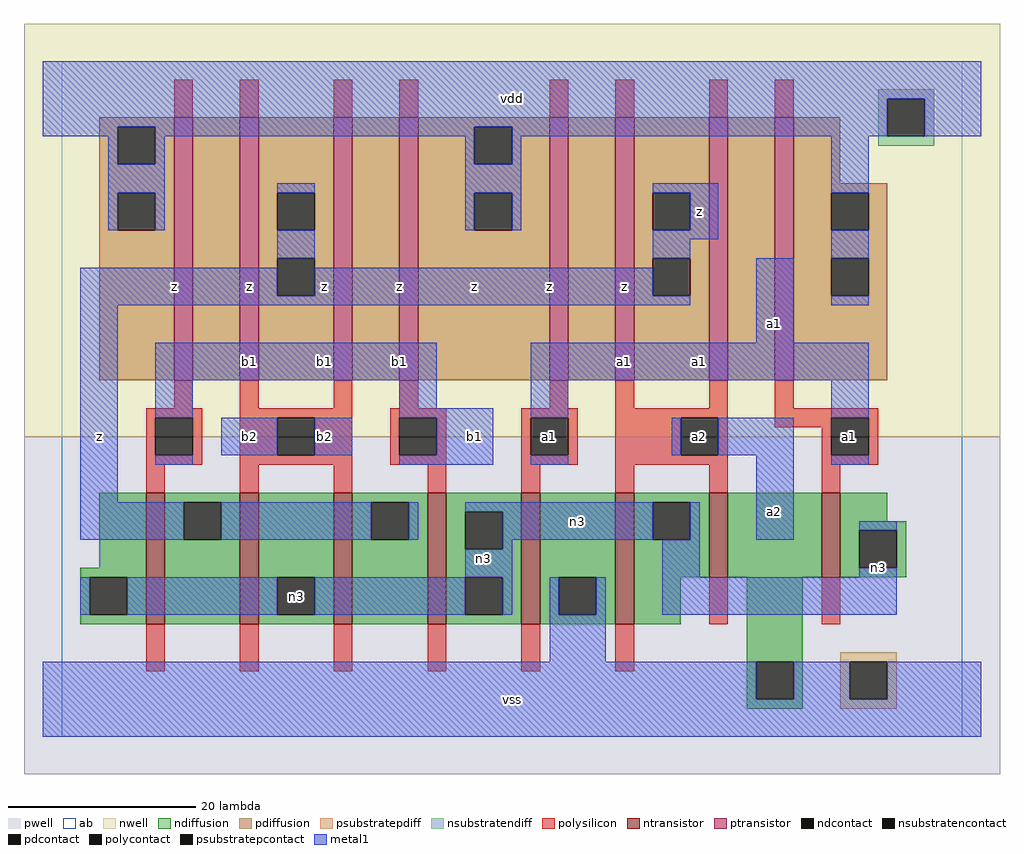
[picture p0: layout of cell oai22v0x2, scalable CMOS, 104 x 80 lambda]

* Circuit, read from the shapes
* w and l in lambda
.subckt oai22v0x2 a1 a2 b1 b2 n3 vdd vss z
M1 z b1 n3 vss nfet w=14 l=2 m=2
M2 n3 b2 z vss nfet w=14 l=2 m=2
M3 vss a1 n3 vss nfet w=14 l=2
M4 n3 a2 vss vss nfet w=14 l=2
M5 vss a2 n3 vss nfet w=9 l=2
M6 n3 a1 vss vss nfet w=9 l=2
M7 n1 b1 vdd vdd pfet w=28 l=2
M8 z b2 n1 vdd pfet w=28 l=2
M9 n2 b2 z vdd pfet w=28 l=2
M10 vdd b1 n2 vdd pfet w=28 l=2
M11 n4 a1 vdd vdd pfet w=28 l=2
M12 z a2 n4 vdd pfet w=28 l=2
M13 n5 a2 z vdd pfet w=28 l=2
M14 vdd a1 n5 vdd pfet w=28 l=2
.ends

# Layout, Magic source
magic
tech scmos
<< ab >>
rect 0 0 96 72
<< pwell >>
rect -4 -4 100 32
<< nwell >>
rect -4 32 100 76
<< polysilicon >>
rect 12 66 14 70
rect 19 66 21 70
rect 29 66 31 70
rect 36 66 38 70
rect 52 66 54 70
rect 59 66 61 70
rect 69 66 71 70
rect 76 66 78 70
rect 12 35 14 38
rect 19 35 21 38
rect 29 35 31 38
rect 36 35 38 38
rect 52 35 54 38
rect 59 35 61 38
rect 69 35 71 38
rect 9 34 15 35
rect 9 30 10 34
rect 14 30 15 34
rect 9 29 15 30
rect 19 34 31 35
rect 19 30 23 34
rect 27 30 31 34
rect 19 29 31 30
rect 35 34 41 35
rect 35 30 36 34
rect 40 30 41 34
rect 35 29 41 30
rect 9 26 11 29
rect 19 26 21 29
rect 29 26 31 29
rect 39 26 41 29
rect 49 34 55 35
rect 49 30 50 34
rect 54 30 55 34
rect 49 29 55 30
rect 59 34 71 35
rect 59 30 66 34
rect 70 30 71 34
rect 76 35 78 38
rect 76 34 87 35
rect 76 33 82 34
rect 59 29 71 30
rect 49 26 51 29
rect 59 26 61 29
rect 69 26 71 29
rect 81 30 82 33
rect 86 30 87 34
rect 81 29 87 30
rect 81 26 83 29
rect 69 12 71 17
rect 9 7 11 12
rect 19 7 21 12
rect 29 7 31 12
rect 39 7 41 12
rect 49 7 51 12
rect 59 7 61 12
rect 81 12 83 17
<< ndiffusion >>
rect 4 18 9 26
rect 2 17 9 18
rect 2 13 3 17
rect 7 13 9 17
rect 2 12 9 13
rect 11 25 19 26
rect 11 21 13 25
rect 17 21 19 25
rect 11 12 19 21
rect 21 17 29 26
rect 21 13 23 17
rect 27 13 29 17
rect 21 12 29 13
rect 31 25 39 26
rect 31 21 33 25
rect 37 21 39 25
rect 31 12 39 21
rect 41 24 49 26
rect 41 20 43 24
rect 47 20 49 24
rect 41 17 49 20
rect 41 13 43 17
rect 47 13 49 17
rect 41 12 49 13
rect 51 17 59 26
rect 51 13 53 17
rect 57 13 59 17
rect 51 12 59 13
rect 61 25 69 26
rect 61 21 63 25
rect 67 21 69 25
rect 61 17 69 21
rect 71 17 81 26
rect 83 23 88 26
rect 83 22 90 23
rect 83 18 85 22
rect 89 18 90 22
rect 83 17 90 18
rect 61 12 66 17
rect 73 8 79 17
rect 73 4 74 8
rect 78 4 79 8
rect 73 3 79 4
<< pdiffusion >>
rect 4 65 12 66
rect 4 61 6 65
rect 10 61 12 65
rect 4 58 12 61
rect 4 54 6 58
rect 10 54 12 58
rect 4 38 12 54
rect 14 38 19 66
rect 21 58 29 66
rect 21 54 23 58
rect 27 54 29 58
rect 21 51 29 54
rect 21 47 23 51
rect 27 47 29 51
rect 21 38 29 47
rect 31 38 36 66
rect 38 65 52 66
rect 38 61 44 65
rect 48 61 52 65
rect 38 58 52 61
rect 38 54 44 58
rect 48 54 52 58
rect 38 38 52 54
rect 54 38 59 66
rect 61 58 69 66
rect 61 54 63 58
rect 67 54 69 58
rect 61 51 69 54
rect 61 47 63 51
rect 67 47 69 51
rect 61 38 69 47
rect 71 38 76 66
rect 78 59 83 66
rect 78 58 88 59
rect 78 54 82 58
rect 86 54 88 58
rect 78 51 88 54
rect 78 47 82 51
rect 86 47 88 51
rect 78 38 88 47
<< metal1 >>
rect -2 68 98 72
rect -2 65 88 68
rect -2 64 6 65
rect 5 61 6 64
rect 10 64 44 65
rect 10 61 11 64
rect 5 58 11 61
rect 43 61 44 64
rect 48 64 88 65
rect 92 64 98 68
rect 48 61 49 64
rect 5 54 6 58
rect 10 54 11 58
rect 23 58 27 59
rect 43 58 49 61
rect 43 54 44 58
rect 48 54 49 58
rect 63 58 70 59
rect 67 54 70 58
rect 23 51 27 54
rect 2 47 23 50
rect 63 53 70 54
rect 82 58 86 64
rect 63 51 67 53
rect 82 51 86 54
rect 27 47 63 50
rect 2 46 67 47
rect 2 25 6 46
rect 74 42 78 51
rect 82 46 86 47
rect 10 38 40 42
rect 10 34 14 38
rect 36 35 40 38
rect 50 38 86 42
rect 36 34 46 35
rect 17 30 23 34
rect 27 30 31 34
rect 40 30 46 34
rect 10 29 14 30
rect 36 29 46 30
rect 50 34 54 38
rect 82 34 86 38
rect 65 30 66 34
rect 70 30 78 34
rect 50 29 54 30
rect 2 21 13 25
rect 17 21 33 25
rect 37 21 38 25
rect 43 24 63 25
rect 47 21 63 24
rect 67 21 68 25
rect 74 21 78 30
rect 82 29 86 30
rect 85 22 89 23
rect 47 20 48 21
rect 43 17 48 20
rect 64 17 68 21
rect 85 17 89 18
rect 2 13 3 17
rect 7 13 23 17
rect 27 13 43 17
rect 47 13 48 17
rect 52 13 53 17
rect 57 13 58 17
rect 64 13 89 17
rect 52 8 58 13
rect -2 4 74 8
rect 78 4 84 8
rect 88 4 98 8
rect -2 0 98 4
<< ntransistor >>
rect 9 12 11 26
rect 19 12 21 26
rect 29 12 31 26
rect 39 12 41 26
rect 49 12 51 26
rect 59 12 61 26
rect 69 17 71 26
rect 81 17 83 26
<< ptransistor >>
rect 12 38 14 66
rect 19 38 21 66
rect 29 38 31 66
rect 36 38 38 66
rect 52 38 54 66
rect 59 38 61 66
rect 69 38 71 66
rect 76 38 78 66
<< polycontact >>
rect 10 30 14 34
rect 23 30 27 34
rect 36 30 40 34
rect 50 30 54 34
rect 66 30 70 34
rect 82 30 86 34
<< ndcontact >>
rect 3 13 7 17
rect 13 21 17 25
rect 23 13 27 17
rect 33 21 37 25
rect 43 20 47 24
rect 43 13 47 17
rect 53 13 57 17
rect 63 21 67 25
rect 85 18 89 22
rect 74 4 78 8
<< pdcontact >>
rect 6 61 10 65
rect 6 54 10 58
rect 23 54 27 58
rect 23 47 27 51
rect 44 61 48 65
rect 44 54 48 58
rect 63 54 67 58
rect 63 47 67 51
rect 82 54 86 58
rect 82 47 86 51
<< psubstratepcontact >>
rect 84 4 88 8
<< nsubstratencontact >>
rect 88 64 92 68
<< psubstratepdiff >>
rect 83 8 89 9
rect 83 4 84 8
rect 88 4 89 8
rect 83 3 89 4
<< nsubstratendiff >>
rect 87 68 93 69
rect 87 64 88 68
rect 92 64 93 68
rect 87 63 93 64
<< labels >>
rlabel metal1 4 32 4 32 6 z
rlabel metal1 12 48 12 48 6 z
rlabel metal1 28 32 28 32 6 b2
rlabel metal1 20 32 20 32 6 b2
rlabel metal1 20 40 20 40 6 b1
rlabel metal1 28 40 28 40 6 b1
rlabel metal1 20 48 20 48 6 z
rlabel metal1 28 48 28 48 6 z
rlabel metal1 48 4 48 4 6 vss
rlabel metal1 45 19 45 19 6 n3
rlabel ndcontact 25 15 25 15 6 n3
rlabel metal1 44 32 44 32 6 b1
rlabel polycontact 52 32 52 32 6 a1
rlabel metal1 36 40 36 40 6 b1
rlabel metal1 36 48 36 48 6 z
rlabel metal1 44 48 44 48 6 z
rlabel metal1 52 48 52 48 6 z
rlabel metal1 48 68 48 68 6 vdd
rlabel metal1 55 23 55 23 6 n3
rlabel metal1 76 24 76 24 6 a2
rlabel polycontact 68 32 68 32 6 a2
rlabel metal1 60 40 60 40 6 a1
rlabel metal1 68 40 68 40 6 a1
rlabel metal1 76 44 76 44 6 a1
rlabel metal1 60 48 60 48 6 z
rlabel metal1 68 56 68 56 6 z
rlabel metal1 87 18 87 18 6 n3
rlabel polycontact 84 32 84 32 6 a1
<< end >>
